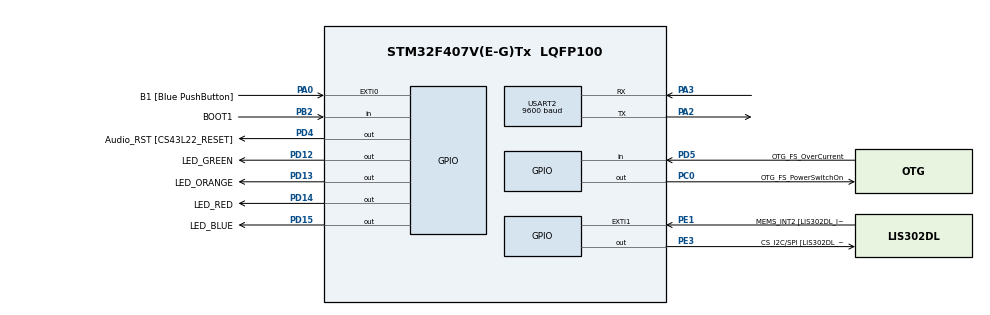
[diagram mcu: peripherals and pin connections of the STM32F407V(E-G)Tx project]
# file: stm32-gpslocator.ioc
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Dma.Request0=USART2_TX
Dma.Request1=USART2_RX
Dma.USART2_RX.1.Direction=DMA_PERIPH_TO_MEMORY
Dma.USART2_RX.1.FIFOMode=DMA_FIFOMODE_DISABLE
Dma.USART2_RX.1.Instance=DMA1_Stream5
Dma.USART2_RX.1.MemDataAlignment=DMA_MDATAALIGN_BYTE
Dma.USART2_RX.1.MemInc=DMA_MINC_ENABLE
Dma.USART2_RX.1.Mode=DMA_CIRCULAR
Dma.USART2_RX.1.PeriphDataAlignment=DMA_PDATAALIGN_BYTE
Dma.USART2_RX.1.PeriphInc=DMA_PINC_DISABLE
Dma.USART2_RX.1.Priority=DMA_PRIORITY_LOW
Dma.USART2_TX.0.Direction=DMA_MEMORY_TO_PERIPH
Dma.USART2_TX.0.FIFOMode=DMA_FIFOMODE_DISABLE
Dma.USART2_TX.0.Instance=DMA1_Stream6
Dma.USART2_TX.0.MemDataAlignment=DMA_MDATAALIGN_BYTE
Dma.USART2_TX.0.MemInc=DMA_MINC_ENABLE
Dma.USART2_TX.0.Mode=DMA_NORMAL
Dma.USART2_TX.0.PeriphDataAlignment=DMA_PDATAALIGN_BYTE
Dma.USART2_TX.0.PeriphInc=DMA_PINC_DISABLE
Dma.USART2_TX.0.Priority=DMA_PRIORITY_LOW
Mcu.Family=STM32F4
Mcu.Name=STM32F407V(E-G)Tx
Mcu.Package=LQFP100
NVIC.DMA1_Stream5_IRQn=true\:0\:0\:false\:false\:true\:false\:true
NVIC.DMA1_Stream6_IRQn=true\:0\:0\:false\:false\:true\:false\:true
NVIC.PriorityGroup=NVIC_PRIORITYGROUP_0
NVIC.USART2_IRQn=true\:0\:0\:false\:false\:true\:true\:true
PA0-WKUP.GPIO_Label=B1 [Blue PushButton]
PA0-WKUP.Signal=GPXTI0
PA10.GPIO_Label=OTG_FS_ID
PA10.GPIO_Mode=GPIO_MODE_AF_PP
PA10.GPIO_PuPd=GPIO_NOPULL
PA10.GPIO_Speed=GPIO_SPEED_FREQ_LOW
PA10.Signal=USB_OTG_FS_ID
PA11.GPIO_Label=OTG_FS_DM
PA11.GPIO_Mode=GPIO_MODE_AF_PP
PA11.GPIO_PuPd=GPIO_NOPULL
PA11.GPIO_Speed=GPIO_SPEED_FREQ_LOW
PA11.Signal=USB_OTG_FS_DM
PA12.GPIO_Label=OTG_FS_DP
PA12.GPIO_Mode=GPIO_MODE_AF_PP
PA12.GPIO_PuPd=GPIO_NOPULL
PA12.GPIO_Speed=GPIO_SPEED_FREQ_LOW
PA12.Signal=USB_OTG_FS_DP
PA13.GPIO_Label=SWDIO
PA13.Signal=SYS_JTMS-SWDIO
PA14.GPIO_Label=SWCLK
PA14.Signal=SYS_JTCK-SWCLK
PA2.Mode=Asynchronous
PA2.Signal=USART2_TX
PA3.Mode=Asynchronous
PA3.Signal=USART2_RX
PA4.GPIO_Label=I2S3_WS [CS43L22_LRCK]
PA4.GPIO_Mode=GPIO_MODE_AF_PP
PA4.GPIO_PuPd=GPIO_NOPULL
PA4.GPIO_Speed=GPIO_SPEED_FREQ_LOW
PA4.Signal=I2S3_WS
PA5.GPIO_Label=SPI1_SCK [LIS302DL_SCL/SPC]
PA5.GPIO_Mode=GPIO_MODE_AF_PP
PA5.GPIO_PuPd=GPIO_NOPULL
PA5.GPIO_Speed=GPIO_SPEED_FREQ_LOW
PA5.Signal=SPI1_SCK
PA6.GPIO_Label=SPI1_MISO [LIS302DL_SDO]
PA6.GPIO_Mode=GPIO_MODE_AF_PP
PA6.GPIO_PuPd=GPIO_NOPULL
PA6.GPIO_Speed=GPIO_SPEED_FREQ_LOW
PA6.Signal=SPI1_MISO
PA7.GPIO_Label=SPI1_MOSI [LIS302DL_SDA/SDI/SDO]
PA7.GPIO_Mode=GPIO_MODE_AF_PP
PA7.GPIO_PuPd=GPIO_NOPULL
PA7.GPIO_Speed=GPIO_SPEED_FREQ_LOW
PA7.Signal=SPI1_MOSI
PA9.GPIO_Label=VBUS_FS
PA9.GPIO_Mode=GPIO_MODE_INPUT
PA9.GPIO_PuPd=GPIO_NOPULL
PA9.Signal=USB_OTG_FS_VBUS
PB10.GPIO_Label=CLK_IN [MP45DT02_CLK]
PB10.GPIO_Mode=GPIO_MODE_AF_PP
PB10.GPIO_PuPd=GPIO_NOPULL
PB10.GPIO_Speed=GPIO_SPEED_FREQ_LOW
PB10.Signal=I2S2_CK
PB2.GPIO_Label=BOOT1
PB2.GPIO_Mode=GPIO_MODE_INPUT
PB2.GPIO_PuPd=GPIO_NOPULL
PB2.Signal=GPIO_Input
PB3.GPIO_Label=SWO
PB3.Signal=SYS_JTDO-SWO
PB6.GPIO_Label=Audio_SCL [CS43L22_SCL]
PB6.GPIO_Mode=GPIO_MODE_AF_OD
PB6.GPIO_PuPd=GPIO_NOPULL
PB6.GPIO_Speed=GPIO_SPEED_FREQ_LOW
PB6.Signal=I2C1_SCL
PB9.GPIO_Label=Audio_SDA [CS43L22_SDA]
PB9.GPIO_Mode=GPIO_MODE_AF_OD
PB9.GPIO_PuPd=GPIO_NOPULL
PB9.GPIO_Speed=GPIO_SPEED_FREQ_LOW
PB9.Signal=I2C1_SDA
PC0.GPIO_Label=OTG_FS_PowerSwitchOn
PC0.GPIO_PuPd=GPIO_NOPULL
PC0.GPIO_Speed=GPIO_SPEED_FREQ_LOW
PC0.PinState=GPIO_PIN_SET
PC0.Signal=GPIO_Output
PC10.GPIO_Label=I2S3_SCK [CS43L22_SCLK]
PC10.GPIO_Mode=GPIO_MODE_AF_PP
PC10.GPIO_PuPd=GPIO_NOPULL
PC10.GPIO_Speed=GPIO_SPEED_FREQ_LOW
PC10.Signal=I2S3_CK
PC12.GPIO_Label=I2S3_SD [CS43L22_SDIN]
PC12.GPIO_Mode=GPIO_MODE_AF_PP
PC12.GPIO_PuPd=GPIO_NOPULL
PC12.GPIO_Speed=GPIO_SPEED_FREQ_LOW
PC12.Signal=I2S3_SD
PC14-OSC32_IN.GPIO_Label=PC14-OSC32_IN
PC14-OSC32_IN.Signal=RCC_OSC32_IN
PC15-OSC32_OUT.GPIO_Label=PC15-OSC32_OUT
PC15-OSC32_OUT.Signal=RCC_OSC32_OUT
PC3.GPIO_Label=PDM_OUT [MP45DT02_DOUT]
PC3.GPIO_Mode=GPIO_MODE_AF_PP
PC3.GPIO_PuPd=GPIO_NOPULL
PC3.GPIO_Speed=GPIO_SPEED_FREQ_LOW
PC3.Signal=I2S2_SD
PC7.GPIO_Label=I2S3_MCK [CS43L22_MCLK]
PC7.GPIO_Mode=GPIO_MODE_AF_PP
PC7.GPIO_PuPd=GPIO_NOPULL
PC7.GPIO_Speed=GPIO_SPEED_FREQ_LOW
PC7.Signal=I2S3_MCK
PD12.GPIO_Label=LED_GREEN
PD12.GPIO_PuPd=GPIO_NOPULL
PD12.GPIO_Speed=GPIO_SPEED_FREQ_LOW
PD12.Signal=GPIO_Output
PD13.GPIO_Label=LED_ORANGE
PD13.GPIO_PuPd=GPIO_NOPULL
PD13.GPIO_Speed=GPIO_SPEED_FREQ_LOW
PD13.Signal=GPIO_Output
PD14.GPIO_Label=LED_RED
PD14.GPIO_PuPd=GPIO_NOPULL
PD14.GPIO_Speed=GPIO_SPEED_FREQ_LOW
PD14.Signal=GPIO_Output
PD15.GPIO_Label=LED_BLUE
PD15.GPIO_PuPd=GPIO_NOPULL
PD15.GPIO_Speed=GPIO_SPEED_FREQ_LOW
PD15.Signal=GPIO_Output
PD4.GPIO_Label=Audio_RST [CS43L22_RESET]
PD4.GPIO_PuPd=GPIO_NOPULL
PD4.GPIO_Speed=GPIO_SPEED_FREQ_LOW
PD4.Signal=GPIO_Output
PD5.GPIO_Label=OTG_FS_OverCurrent
PD5.GPIO_Mode=GPIO_MODE_INPUT
PD5.GPIO_PuPd=GPIO_NOPULL
PD5.Signal=GPIO_Input
PE1.GPIO_Label=MEMS_INT2 [LIS302DL_INT2]
PE1.GPIO_ModeDefaultEXTI=GPIO_MODE_EVT_RISING
PE1.GPIO_PuPd=GPIO_NOPULL
PE1.Signal=GPXTI1
PE3.GPIO_Label=CS_I2C/SPI [LIS302DL_CS_I2C/SPI]
PE3.GPIO_PuPd=GPIO_NOPULL
PE3.GPIO_Speed=GPIO_SPEED_FREQ_LOW
PE3.Signal=GPIO_Output
PH0-OSC_IN.GPIO_Label=PH0-OSC_IN
PH0-OSC_IN.Mode=HSE-External-Oscillator
PH0-OSC_IN.Signal=RCC_OSC_IN
PH1-OSC_OUT.GPIO_Label=PH1-OSC_OUT
PH1-OSC_OUT.Mode=HSE-External-Oscillator
PH1-OSC_OUT.Signal=RCC_OSC_OUT
ProjectManager.HeapSize=0x200
ProjectManager.StackSize=0x400
ProjectManager.TargetToolchain=STM32CubeIDE
RCC.48MHZClocksFreq_Value=48000000
RCC.AHBFreq_Value=168000000
RCC.APB1CLKDivider=RCC_HCLK_DIV4
RCC.APB1Freq_Value=42000000
RCC.APB1TimFreq_Value=84000000
RCC.APB2CLKDivider=RCC_HCLK_DIV2
RCC.APB2Freq_Value=84000000
RCC.APB2TimFreq_Value=168000000
RCC.CortexFreq_Value=168000000
RCC.HCLKFreq_Value=168000000
RCC.HSE_VALUE=8000000
RCC.HSI_VALUE=16000000
RCC.LSE_VALUE=32768
RCC.PLLM=4
RCC.PLLN=168
RCC.PLLQ=7
RCC.PLLSourceVirtual=RCC_PLLSOURCE_HSE
RCC.SYSCLKFreq_VALUE=168000000
RCC.SYSCLKSource=RCC_SYSCLKSOURCE_PLLCLK
RCC.VCOOutputFreq_Value=336000000
TIM10.Period=65535
TIM10.Prescaler=16799
USART2.BaudRate=9600
USART2.VirtualMode=VM_ASYNC
VP_TIM10_VS_ClockSourceINT.Mode=Enable_Timer
board=STM32F407G-DISC1

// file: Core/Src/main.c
/* USER CODE BEGIN Header */
/**
  ******************************************************************************
  * @file           : main.c
  * @brief          : Main program body
  ******************************************************************************
  * @attention
  *
  * <h2><center>&copy; Copyright (c) 2021 STMicroelectronics.
  * All rights reserved.</center></h2>
  *
  * This software component is licensed by ST under BSD 3-Clause license,
  * the "License"; You may not use this file except in compliance with the
  * License. You may obtain a copy of the License at:
  *                        opensource.org/licenses/BSD-3-Clause
  *
  ******************************************************************************
  */
/* USER CODE END Header */

#include "main.h"
#include "dma.h"
#include "tim.h"
#include "usart.h"
#include "gpio.h"

/* USER CODE BEGIN Includes */
#include <stdint.h>
#include <string.h>
#include "app.h"
#include "userif.h"
/* USER CODE END Includes */

/* USER CODE BEGIN PV */

/** LED management. Last timestamp */
uint16_t lts_;
/** Target on range flag */
uint8_t target_on_range_ = 0;
/** GPS fix flag */
uint8_t gps_fix_ = 0;

/* USER CODE END PV */

void SystemClock_Config(void);
/* USER CODE BEGIN PFP */

void led_management(void);

/* USER CODE END PFP */

int main(void)
{

  /* MCU Configuration--------------------------------------------------------*/

  /* Reset of all peripherals, Initializes the Flash interface and the Systick. */

  LL_APB2_GRP1_EnableClock(LL_APB2_GRP1_PERIPH_SYSCFG);
  LL_APB1_GRP1_EnableClock(LL_APB1_GRP1_PERIPH_PWR);

  NVIC_SetPriorityGrouping(NVIC_PRIORITYGROUP_0);

  /* System interrupt init*/

  /* Configure the system clock */
  SystemClock_Config();

  /* Initialize all configured peripherals */
  MX_GPIO_Init();
  MX_DMA_Init();
  MX_USART2_UART_Init();
  MX_TIM10_Init();
  /* USER CODE BEGIN 2 */

  /* Start timer */
  MX_TIM10_Start();

  /* Set DMA RX buffer */

  MX_USART2_UART_Enable();

  /* USER CODE END 2 */

  /* Infinite loop */
  /* USER CODE BEGIN WHILE */

  /* Initialize LED timestamp */
  lts_ = MX_TIM10_Get();

  while (1)
  {
    uint8_t ret;
    uint8_t b;

    /* USER CODE END WHILE */

    /* USER CODE BEGIN 3 */

    /* Main APP Step */
    ret = uart_read_data(&b);
    if (ret) {
      app_step(b);
    }

    /* Update LEDs */
    led_management();

  }
  /* USER CODE END 3 */
}

void SystemClock_Config(void)
{
  LL_FLASH_SetLatency(LL_FLASH_LATENCY_5);

  if(LL_FLASH_GetLatency() != LL_FLASH_LATENCY_5)
  {
  Error_Handler();
  }
  LL_PWR_SetRegulVoltageScaling(LL_PWR_REGU_VOLTAGE_SCALE1);
  LL_RCC_HSE_Enable();

   /* Wait till HSE is ready */
  while(LL_RCC_HSE_IsReady() != 1)
  {

  }
  LL_RCC_PLL_ConfigDomain_SYS(LL_RCC_PLLSOURCE_HSE, LL_RCC_PLLM_DIV_4, 168, LL_RCC_PLLP_DIV_2);
  LL_RCC_PLL_Enable();

   /* Wait till PLL is ready */
  while(LL_RCC_PLL_IsReady() != 1)
  {

  }
  LL_RCC_SetAHBPrescaler(LL_RCC_SYSCLK_DIV_1);
  LL_RCC_SetAPB1Prescaler(LL_RCC_APB1_DIV_4);
  LL_RCC_SetAPB2Prescaler(LL_RCC_APB2_DIV_2);
  LL_RCC_SetSysClkSource(LL_RCC_SYS_CLKSOURCE_PLL);

   /* Wait till System clock is ready */
  while(LL_RCC_GetSysClkSource() != LL_RCC_SYS_CLKSOURCE_STATUS_PLL)
  {

  }
  LL_Init1msTick(168000000);
  LL_SetSystemCoreClock(168000000);
}

/* USER CODE BEGIN 4 */

/**
 * @brief Update the LEDs values
 * @param t0  Last timestamp when the LEDs were updated
 */
void led_management (

)
{
	/* Period = 250ms -> 2500 cnt in TMR10 */
	static const uint16_t period = 2500;

    uint16_t t1;
    uint32_t dt;

    /* Get current time */
    t1 = (uint16_t)MX_TIM10_Get();
    /* Compute difference in the circular timer */
    dt = (0x10000UL - lts_ + t1 + 1) & 0xFFFF;

    if (dt > period) {

      /* System LED (Red) */
      LL_GPIO_TogglePin(LED_RED_GPIO_Port, LED_RED_Pin);

      /* GPS FIX LED (Blue) */
      if (userif_get_gps_status()) {
        LL_GPIO_TogglePin(LED_BLUE_GPIO_Port, LED_BLUE_Pin);
      } else {
      	LL_GPIO_ResetOutputPin(LED_BLUE_GPIO_Port, LED_BLUE_Pin);
      }

      /* TARGET On Range LED (Green) */
      if (userif_get_target_reached()) {
        LL_GPIO_TogglePin(LED_GREEN_GPIO_Port, LED_GREEN_Pin);
      } else {
      	LL_GPIO_ResetOutputPin(LED_GREEN_GPIO_Port, LED_GREEN_Pin);
      }

      /* Save timer */
      lts_ = t1;
    }
}

/* USER CODE END 4 */

void Error_Handler(void)
{
}

/************************ (C) COPYRIGHT STMicroelectronics *****END OF FILE****/
